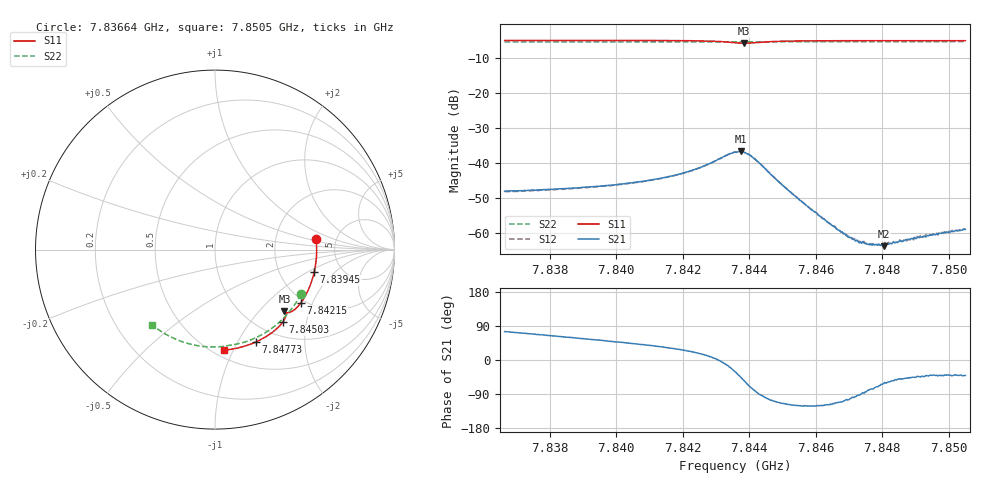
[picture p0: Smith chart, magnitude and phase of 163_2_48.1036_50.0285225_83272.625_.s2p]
#  HZ  S  RI  R  50.00
! Rohde & Schwarz Vector Network Analyzer
! Rohde-Schwarz,ZNB20-2Port,1311601062101988,3.16
! Created: UTC 12/23/2023, 3:51:00 AM
! freq[Hz]  re:S11  im:S11  re:S21  im:S21  re:S12  im:S12  re:S22  im:S22
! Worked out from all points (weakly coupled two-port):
!   401 points, 7.83664 GHz to 7.8505 GHz, reference 50 ohm
!   highest |S21| = -36.76 dB at 7.84374 GHz (marker M1); lowest = -63.9 dB at 7.84804 GHz (marker M2)
!   lowest |S11| = -5.7 dB at 7.84385 GHz (marker M3), VSWR 3.14, Z = 74.1 - j69.5 ohm
!   |S11| at or under -10 dB: nowhere
!   |S22| runs from -5.4 to -5.3 dB; largest |S21 - S12| = 0.00031
!   S11 on the Smith chart (normalised r, x): 7.83664 GHz: 3.49, +0.61; 7.83945 GHz: 3.14, -1.17; 7.84215 GHz: 1.90, -1.65; 7.84503 GHz: 1.25, -1.47; 7.84773 GHz: 0.79, -1.19; 7.8505 GHz: 0.56, -0.92
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7.836642e9  0.5629 0.0595  0.00101 0.00379  0.00102 0.00372  0.479 -0.2481
7.838963e9  0.5589 -0.0946  0.00245 0.00369  0.00241 0.00363  0.3842 -0.3799
7.839448e9  0.5525 -0.1265  0.00279 0.00365  0.00277 0.00361  0.3598 -0.4033
7.841284e9  0.5103 -0.244  0.00482 0.00344  0.00483 0.00342  0.2547 -0.4774
7.84215e9  0.4784 -0.2969  0.00681 0.00302  0.00672 0.00304  0.1995 -0.5031
7.84267e9  0.4526 -0.3266  0.00891 0.00204  0.00884 0.00208  0.165 -0.5154
7.843363e9  0.4055 -0.3523  0.0127 -0.00342  0.0127 -0.00349  0.1181 -0.5267
7.84357e9  0.3921 -0.3502  0.0121 -0.0073  0.0124 -0.00721  0.1043 -0.529
7.843744e9  0.3868 -0.3457  0.0101 -0.0104  0.0101 -0.0104  0.0933 -0.5308
7.843848e9  0.3866 -0.3436  0.00814 -0.0115  0.00814 -0.0116  0.0867 -0.532
7.844125e9  0.3927 -0.3479  0.00234 -0.0115  0.00241 -0.0116  0.069 -0.5355
7.845025e9  0.3767 -0.4055  -0.00195 -0.00423  -0.00195 -0.00424  0.00632 -0.5426
7.845891e9  0.3336 -0.45  -0.00109 -0.00179  -0.0011 -0.00183  -0.0548 -0.5408
7.846411e9  0.3049 -0.4715  -0.000643 -0.00121  -0.000607 -0.0012  -0.0911 -0.5362
7.846965e9  0.2728 -0.4919  -0.000237 -0.000845  -0.000199 -0.000835  -0.129 -0.5288
7.847312e9  0.2521 -0.5032  -2.4e-05 -0.000711  -1.25e-05 -0.000747  -0.1527 -0.5225
7.847727e9  0.2267 -0.5151  0.000161 -0.000663  0.000193 -0.000667  -0.1806 -0.5139
7.848039e9  0.2076 -0.5233  0.0003 -0.000563  0.000309 -0.000581  -0.2012 -0.5065
7.848212e9  0.1968 -0.5274  0.000374 -0.000592  0.000368 -0.000583  -0.2125 -0.5019
7.848767e9  0.1617 -0.5392  0.000548 -0.000577  0.000534 -0.000574  -0.2477 -0.4858
7.849355e9  0.1237 -0.5491  0.000681 -0.000602  0.000703 -0.000614  -0.284 -0.466
7.850499e9  0.0485 -0.5602  0.00084 -0.000727  0.000873 -0.000712  -0.3494 -0.4199
